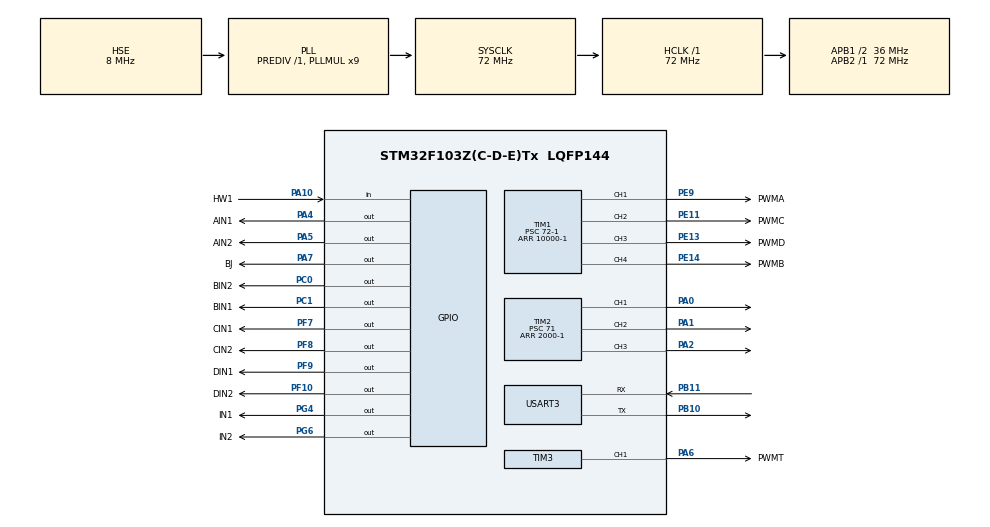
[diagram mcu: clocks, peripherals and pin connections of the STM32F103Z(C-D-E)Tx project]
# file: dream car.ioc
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Mcu.Family=STM32F1
Mcu.Name=STM32F103Z(C-D-E)Tx
Mcu.Package=LQFP144
NVIC.PriorityGroup=NVIC_PRIORITYGROUP_4
NVIC.TIM1_BRK_IRQn=true\:0\:0\:false\:false\:true\:true\:true\:true
NVIC.TIM1_CC_IRQn=true\:0\:0\:false\:false\:true\:true\:true\:true
NVIC.TIM1_TRG_COM_IRQn=true\:0\:0\:false\:false\:true\:true\:true\:true
NVIC.TIM1_UP_IRQn=true\:0\:0\:false\:false\:true\:true\:true\:true
NVIC.TIM3_IRQn=true\:0\:0\:false\:false\:true\:true\:true\:true
NVIC.USART3_IRQn=true\:0\:0\:false\:false\:true\:true\:true\:true
OSC_IN.Mode=HSE-External-Oscillator
OSC_IN.Signal=RCC_OSC_IN
OSC_OUT.Mode=HSE-External-Oscillator
OSC_OUT.Signal=RCC_OSC_OUT
PA0-WKUP.Signal=S_TIM2_CH1_ETR
PA1.Signal=S_TIM2_CH2
PA10.GPIO_Label=HW1
PA10.Signal=GPIO_Input
PA13.Mode=Serial_Wire
PA13.Signal=SYS_JTMS-SWDIO
PA14.Mode=Serial_Wire
PA14.Signal=SYS_JTCK-SWCLK
PA2.Signal=S_TIM2_CH3
PA4.GPIO_Label=AIN1
PA4.Signal=GPIO_Output
PA5.GPIO_Label=AIN2
PA5.Signal=GPIO_Output
PA6.GPIO_Label=PWMT
PA6.Signal=S_TIM3_CH1
PA7.GPIO_Label=BJ
PA7.Signal=GPIO_Output
PB10.Mode=Asynchronous
PB10.Signal=USART3_TX
PB11.Mode=Asynchronous
PB11.Signal=USART3_RX
PC0.GPIO_Label=BIN2
PC0.Signal=GPIO_Output
PC1.GPIO_Label=BIN1
PC1.Signal=GPIO_Output
PC14-OSC32_IN.Mode=LSE-External-Oscillator
PC14-OSC32_IN.Signal=RCC_OSC32_IN
PC15-OSC32_OUT.Mode=LSE-External-Oscillator
PC15-OSC32_OUT.Signal=RCC_OSC32_OUT
PE11.GPIO_Label=PWMC
PE11.Signal=S_TIM1_CH2
PE13.GPIO_Label=PWMD
PE13.Signal=S_TIM1_CH3
PE14.GPIO_Label=PWMB
PE14.Signal=S_TIM1_CH4
PE9.GPIO_Label=PWMA
PE9.Signal=S_TIM1_CH1
PF10.GPIO_Label=DIN2
PF10.Signal=GPIO_Output
PF7.GPIO_Label=CIN1
PF7.Signal=GPIO_Output
PF8.GPIO_Label=CIN2
PF8.Signal=GPIO_Output
PF9.GPIO_Label=DIN1
PF9.Signal=GPIO_Output
PG4.GPIO_Label=IN1
PG4.Signal=GPIO_Output
PG6.GPIO_Label=IN2
PG6.Signal=GPIO_Output
ProjectManager.HeapSize=0x200
ProjectManager.StackSize=0x400
ProjectManager.TargetToolchain=MDK-ARM V5.32
RCC.AHBFreq_Value=72000000
RCC.APB1CLKDivider=RCC_HCLK_DIV2
RCC.APB1Freq_Value=36000000
RCC.APB1TimFreq_Value=72000000
RCC.APB2Freq_Value=72000000
RCC.APB2TimFreq_Value=72000000
RCC.HCLKFreq_Value=72000000
RCC.PLLMUL=RCC_PLL_MUL9
RCC.PLLSourceVirtual=RCC_PLLSOURCE_HSE
RCC.SYSCLKFreq_VALUE=72000000
RCC.SYSCLKSource=RCC_SYSCLKSOURCE_PLLCLK
RCC.USBFreq_Value=72000000
SH.S_TIM1_CH1.0=TIM1_CH1,PWM Generation1 CH1
SH.S_TIM1_CH2.0=TIM1_CH2,PWM Generation2 CH2
SH.S_TIM1_CH3.0=TIM1_CH3,PWM Generation3 CH3
SH.S_TIM1_CH4.0=TIM1_CH4,PWM Generation4 CH4
SH.S_TIM2_CH1_ETR.0=TIM2_CH1,PWM Generation1 CH1
SH.S_TIM2_CH2.0=TIM2_CH2,PWM Generation2 CH2
SH.S_TIM2_CH3.0=TIM2_CH3,PWM Generation3 CH3
SH.S_TIM3_CH1.0=TIM3_CH1,PWM Generation1 CH1
TIM1.AutoReloadPreload=TIM_AUTORELOAD_PRELOAD_ENABLE
TIM1.Channel-PWM\ Generation1\ CH1=TIM_CHANNEL_1
TIM1.Channel-PWM\ Generation2\ CH2=TIM_CHANNEL_2
TIM1.Channel-PWM\ Generation3\ CH3=TIM_CHANNEL_3
TIM1.Channel-PWM\ Generation4\ CH4=TIM_CHANNEL_4
TIM1.Period=10000-1
TIM1.Prescaler=72-1
TIM2.Channel-PWM\ Generation1\ CH1=TIM_CHANNEL_1
TIM2.Channel-PWM\ Generation2\ CH2=TIM_CHANNEL_2
TIM2.Channel-PWM\ Generation3\ CH3=TIM_CHANNEL_3
TIM2.Period=2000-1
TIM2.Prescaler=71
TIM3.Channel-PWM\ Generation1\ CH1=TIM_CHANNEL_1
TIM3.Period=2000-1
TIM3.Prescaler=71
TIM3.Pulse-PWM\ Generation1\ CH1=500-1
USART3.VirtualMode=VM_ASYNC
VP_TIM1_VS_ClockSourceINT.Mode=Internal
VP_TIM2_VS_ClockSourceINT.Mode=Internal
board=custom

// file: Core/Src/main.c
/* USER CODE BEGIN Header */
/**
  ******************************************************************************
  * @file           : main.c
  * @brief          : Main program body
  ******************************************************************************
  * @attention
  *
  * Copyright (c) 2024 STMicroelectronics.
  * All rights reserved.
  *
  * This software is licensed under terms that can be found in the LICENSE file
  * in the root directory of this software component.
  * If no LICENSE file comes with this software, it is provided AS-IS.
  *
  ******************************************************************************
  */
/* USER CODE END Header */
#include "main.h"
#include "tim.h"
#include "usart.h"
#include "gpio.h"

/* USER CODE BEGIN Includes */
#include "motor.h"
#include "pid.h"
#include "blue.h"
#include "encoder.h"
#include "step_motor.h"
#include <stdio.h>
/* USER CODE END Includes */

/* USER CODE BEGIN PV */
uint8_t resdate[1];
/* USER CODE END PV */

void SystemClock_Config(void);
/* USER CODE BEGIN PFP */

void Motor_X_ZHENG(void)  // Motor turn forward
{
    HAL_GPIO_WritePin(BJ_GPIO_Port, BJ_Pin,GPIO_PIN_RESET); // Set PB1 to LOW
}

void Motor_X_FAN(void)    // Motor reverse
{
    HAL_GPIO_WritePin(BJ_GPIO_Port, BJ_Pin,GPIO_PIN_SET); // Set PB1 to HIGH
}

/* USER CODE END PFP */

/* USER CODE BEGIN 0 */
void HAL_UART_RxCpltCallback(UART_HandleTypeDef*huart)
	{
		HAL_UART_Transmit_IT(&huart3,resdate,1);
	if(resdate[0]=='g'){
		 go_forward();}
	if(resdate[0]=='l'){
		 go_left();}
	if(resdate[0]=='0'){
		 go_r();}
	if(resdate[0]=='1'){
		 go_l();}
	if(resdate[0]=='r'){
		 go_right();}
	if(resdate[0]=='b'){
		 go_back();}
	if(resdate[0]=='s'){
		 stop();}
	if(resdate[0]=='9'){
		__HAL_TIM_SET_COMPARE(&htim2,TIM_CHANNEL_3,1800);}
	if(resdate[0]=='a'){
		 go_forward1();}
	if(resdate[0]=='d'){
		 go_left1();}
	if(resdate[0]=='f'){
		 go_r1();}
	if(resdate[0]=='j'){
		 go_l1();}
	if(resdate[0]=='h'){
		 go_right1();}
	if(resdate[0]=='3'){
		__HAL_TIM_SET_COMPARE(&htim2,TIM_CHANNEL_3,400);}
	if(resdate[0]=='Q'){
		__HAL_TIM_SET_COMPARE(&htim2,TIM_CHANNEL_3,800);}
	if(resdate[0]=='W'){
		__HAL_TIM_SET_COMPARE(&htim2,TIM_CHANNEL_3,1400);}
	if(resdate[0]=='4'){
		__HAL_TIM_SET_COMPARE(&htim2,TIM_CHANNEL_2,1500);}
	if(resdate[0]=='5'){
		__HAL_TIM_SET_COMPARE(&htim2,TIM_CHANNEL_2,500);}
	if(resdate[0]=='6'){
		__HAL_TIM_SET_COMPARE(&htim2,TIM_CHANNEL_1,1350);}
	if(resdate[0]=='7'){
		__HAL_TIM_SET_COMPARE(&htim2,TIM_CHANNEL_1,700);}
	if(resdate[0]=='U'){
		 Motor_X_FAN();
	__HAL_TIM_SET_COMPARE(&htim3, TIM_CHANNEL_1, 500);}
	if(resdate[0]=='D'){
		Motor_X_ZHENG();
        __HAL_TIM_SET_COMPARE(&htim3, TIM_CHANNEL_1, 500);}
if(resdate[0]=='N'){
				__HAL_TIM_SET_COMPARE(&htim3, TIM_CHANNEL_1, 0);}

HAL_UART_Receive_IT(&huart3,resdate,1);

}

/* USER CODE END 0 */

int main(void)
{

  /* MCU Configuration--------------------------------------------------------*/

  /* Reset of all peripherals, Initializes the Flash interface and the Systick. */
  HAL_Init();

  /* Configure the system clock */
  SystemClock_Config();

  /* Initialize all configured peripherals */
  MX_GPIO_Init();
  MX_TIM1_Init();
  MX_USART3_UART_Init();
  MX_TIM2_Init();
  MX_TIM3_Init();
  /* USER CODE BEGIN 2 */

	HAL_TIM_PWM_Start(&htim1,TIM_CHANNEL_1);//启pwm输出
	HAL_TIM_PWM_Start(&htim1,TIM_CHANNEL_2);
	HAL_TIM_PWM_Start(&htim1,TIM_CHANNEL_3);
	HAL_TIM_PWM_Start(&htim1,TIM_CHANNEL_4);//启pwm输出

	HAL_TIM_PWM_Start(&htim2,TIM_CHANNEL_1);
	HAL_TIM_PWM_Start(&htim2,TIM_CHANNEL_2);
	HAL_TIM_PWM_Start(&htim2,TIM_CHANNEL_3);

	HAL_TIM_PWM_Start(&htim3,TIM_CHANNEL_1);
HAL_Delay(10);
HAL_UART_Receive_IT(&huart3,resdate,1);

////左面做循迹替�?
//go_forward();
//				HAL_Delay(800);
//stop();
//				HAL_Delay(1500);
//			go_right();
//			HAL_Delay(2200);
//			stop();
//HAL_Delay(1500);
//go_r();
//HAL_Delay(500);
//stop();
//				HAL_Delay(1500);
//	go_forward();
//				HAL_Delay(800);
//stop();
////				HAL_Delay(500);
////右面
//go_forward();
//				HAL_Delay(700);
//stop();
//				HAL_Delay(300);
//go_l();
//	HAL_Delay(700);
//stop();
//				HAL_Delay(1000);
//				go_forward();
//				HAL_Delay(2000);
//				stop();
//HAL_Delay(1500);
////
////			go_left();
////			HAL_Delay(3000);
////			stop();
////HAL_Delay(1500);

////	go_forward();
//				HAL_Delay(1500);
//stop();
//				HAL_Delay(500);
  /* USER CODE END 2 */

  /* Infinite loop */
  while (1)
  {
	}

}

void SystemClock_Config(void)
{
  RCC_OscInitTypeDef RCC_OscInitStruct = {0};
  RCC_ClkInitTypeDef RCC_ClkInitStruct = {0};

  /** Initializes the RCC Oscillators according to the specified parameters
  * in the RCC_OscInitTypeDef structure.
  */
  RCC_OscInitStruct.OscillatorType = RCC_OSCILLATORTYPE_HSE;
  RCC_OscInitStruct.HSEState = RCC_HSE_ON;
  RCC_OscInitStruct.HSEPredivValue = RCC_HSE_PREDIV_DIV1;
  RCC_OscInitStruct.HSIState = RCC_HSI_ON;
  RCC_OscInitStruct.PLL.PLLState = RCC_PLL_ON;
  RCC_OscInitStruct.PLL.PLLSource = RCC_PLLSOURCE_HSE;
  RCC_OscInitStruct.PLL.PLLMUL = RCC_PLL_MUL9;
  if (HAL_RCC_OscConfig(&RCC_OscInitStruct) != HAL_OK)
  {
    Error_Handler();
  }

  /** Initializes the CPU, AHB and APB buses clocks
  */
  RCC_ClkInitStruct.ClockType = RCC_CLOCKTYPE_HCLK|RCC_CLOCKTYPE_SYSCLK
                              |RCC_CLOCKTYPE_PCLK1|RCC_CLOCKTYPE_PCLK2;
  RCC_ClkInitStruct.SYSCLKSource = RCC_SYSCLKSOURCE_PLLCLK;
  RCC_ClkInitStruct.AHBCLKDivider = RCC_SYSCLK_DIV1;
  RCC_ClkInitStruct.APB1CLKDivider = RCC_HCLK_DIV2;
  RCC_ClkInitStruct.APB2CLKDivider = RCC_HCLK_DIV1;

  if (HAL_RCC_ClockConfig(&RCC_ClkInitStruct, FLASH_LATENCY_2) != HAL_OK)
  {
    Error_Handler();
  }
}

void Error_Handler(void)
{
  __disable_irq();
  while (1)
  {
  }
}
